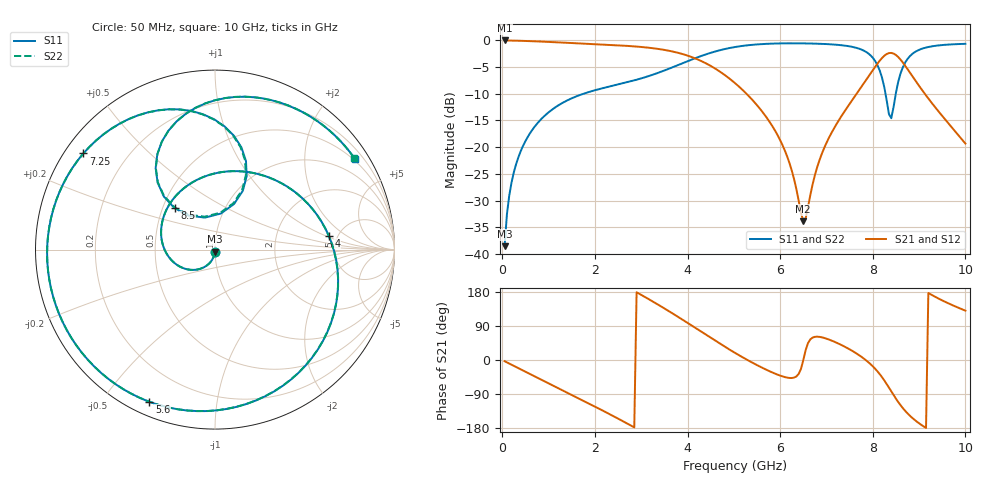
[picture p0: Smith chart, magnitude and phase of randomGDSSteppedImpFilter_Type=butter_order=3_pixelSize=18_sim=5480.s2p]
! freq	dB(S11)	phase(S11)	dB(S12)	phase(S12)
!  dB(S21)	phase(S21)	dB(S22)	phase(S22)
!S-par simulation data
#  GHz  S  DB  R 50
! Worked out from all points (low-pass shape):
!   200 points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, 50 MHz to 10 GHz, reference 50 ohm
!   highest |S21| = -0.01 dB at 50 MHz (marker M1); lowest = -33.9 dB at 6.5 GHz (marker M2)
!   |S21| within 3 dB of the highest: start of sweep to 4.055 GHz; 8.233 GHz to 8.536 GHz (302.5 MHz wide, 3.61 % of centre)
!   lowest |S11| = -38.5 dB at 50 MHz (marker M3), VSWR 1.02, Z = 49.9 - j1.18 ohm
!   |S11| at or under -10 dB: start of sweep to 1.75 GHz; 8.275 GHz to 8.497 GHz (221.7 MHz wide, 2.64 % of centre)
!   |S22| runs from -38.5 to -0.5 dB; largest |S21 - S12| = 0
!   S11 on the Smith chart (normalised r, x): 50 MHz: 1.00, -0.02; 4 GHz: 4.22, +1.12; 5.6 GHz: 0.06, -0.66; 7.25 GHz: 0.05, +0.33; 8.5 GHz: 0.58, +0.30; 10 GHz: 0.45, +3.31
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0.05  -38.54 -91.9  -0.01 -3.2  -0.01 -3.2  -38.54 -91.9
0.2  -26.59 -102.4  -0.03 -12.5  -0.03 -12.5  -26.59 -102.4
0.5  -18.85 -121.5  -0.10 -31.0  -0.10 -31.0  -18.85 -121.4
1.15  -12.50 -161.5  -0.34 -70.8  -0.34 -70.8  -12.50 -161.4
1.75  -10.00 161.8  -0.60 -107.4  -0.60 -107.4  -10.00 161.9
2.65  -7.93 104.7  -1.00 -164.5  -1.00 -164.5  -7.94 104.8
3.4  -5.96 52.6  -1.64 143.5  -1.64 143.5  -5.96 52.6
4  -3.90 7.0  -2.84 98.0  -2.84 98.0  -3.90 6.9
4.5  -2.32 -32.5  -4.77 58.6  -4.77 58.6  -2.33 -32.7
5.05  -1.20 -74.7  -8.18 17.0  -8.18 17.0  -1.20 -74.9
5.6  -0.69 -113.3  -13.19 -19.7  -13.19 -19.7  -0.69 -113.5
6.15  -0.54 -148.5  -21.71 -46.5  -21.71 -46.5  -0.54 -148.6
6.5  -0.55 -169.8  -33.86 -0.4  -33.86 -0.4  -0.55 -169.9
6.7  -0.59 178.1  -26.99 59.1  -26.99 59.1  -0.59 178.1
7.25  -0.84 143.9  -15.19 43.8  -15.19 43.8  -0.84 144.0
7.85  -2.13 99.5  -7.49 -0.3  -7.49 -0.3  -2.12 99.8
8.15  -5.63 70.7  -3.80 -37.3  -3.80 -37.3  -5.61 71.4
8.35  -13.82 80.8  -2.37 -72.9  -2.37 -72.9  -13.62 81.6
8.5  -9.82 134.3  -2.73 -102.0  -2.73 -102.0  -9.74 133.8
8.7  -4.14 121.2  -4.75 -134.2  -4.75 -134.2  -4.13 121.0
9.1  -1.45 86.2  -9.72 -175.5  -9.72 -175.5  -1.45 86.2
10  -0.64 33.1  -19.32 130.3  -19.32 130.3  -0.64 33.3
